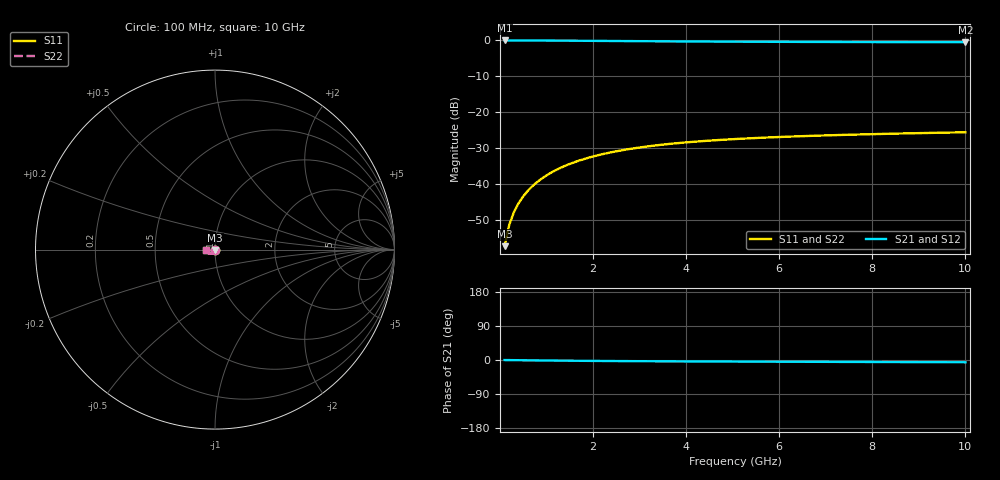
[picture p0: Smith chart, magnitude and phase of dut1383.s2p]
! Touchstone file exported from HFSS 2024.1.0
!  File:  C:/UserFiles/LocalFiles/RDL_TSV_Batchsim/temp_TSV1_1383_1780380369.aedt
!  Generated:  02:12:18 PM Jun  2, 2026
!  Design:  TSV1
!  Project:  temp_TSV1_1383_1780380369
!  Setup:  Setup1
!  Solution:  Sweep
! Variables:
!  dtsv = 9.42um
!  hbump = 3um
!  htsv = 95.35um
!  lrdl = 252.1521522um
!  p = 40
!  p1 = 47.34um
!  t = 500um
!  trdl = 3um
!  wrdl = 24.89489489um
# GHz S MA R 50.000000
! Terminal data exported
! Port[1] = TSV22_T1
! Port[2] = TSV22_T2
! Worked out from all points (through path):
!   100 points, 100 MHz to 10 GHz, reference 50 ohm
!   highest |S21| = 0.00 dB at 100 MHz (marker M1); lowest = -0.5 dB at 10 GHz (marker M2)
!   lowest |S11| = -57.3 dB at 100 MHz (marker M3), VSWR 1.00, Z = 50 - j0.136 ohm
!   |S11| at or under -10 dB: start of sweep to end of sweep
!   |S22| runs from -57.3 to -25.6 dB; largest |S21 - S12| = 5.2e-15
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0.1  0.001364 -84.0  0.9998 -0.1  0.9998 -0.1  0.001364 -84.0
! Gamma 0 0 0 0
! Port Impedance 50 0 50 0
0.2  0.002711 -89.4  0.9996 -0.3  0.9996 -0.3  0.002711 -89.4
0.3  0.004062 -92.3  0.9994 -0.4  0.9994 -0.4  0.004062 -92.3
0.4  0.00541 -94.7  0.9991 -0.6  0.9991 -0.6  0.00541 -94.7
0.5  0.006749 -96.8  0.9987 -0.7  0.9987 -0.7  0.006749 -96.8
0.6  0.008075 -98.7  0.9983 -0.8  0.9983 -0.8  0.008075 -98.7
0.7  0.009386 -100.6  0.9978 -1.0  0.9978 -1.0  0.009386 -100.6
0.8  0.01068 -102.4  0.9972 -1.1  0.9972 -1.1  0.01068 -102.4
0.9  0.01195 -104.2  0.9966 -1.2  0.9966 -1.2  0.01195 -104.2
1.1  0.01443 -107.7  0.9951 -1.4  0.9951 -1.4  0.01443 -107.7
1.4  0.01794 -112.6  0.9926 -1.8  0.9926 -1.8  0.01794 -112.6
1.6  0.02015 -115.7  0.9908 -2.0  0.9908 -2.0  0.02015 -115.7
1.8  0.02223 -118.7  0.9889 -2.2  0.9889 -2.2  0.02223 -118.7
2.1  0.02513 -123.0  0.9859 -2.5  0.9859 -2.5  0.02513 -123.0
2.5  0.02859 -128.3  0.982 -2.8  0.982 -2.8  0.02859 -128.3
2.9  0.03161 -133.2  0.9781 -3.1  0.9781 -3.1  0.03161 -133.2
3.4  0.03483 -138.7  0.9736 -3.4  0.9736 -3.4  0.03483 -138.7
4.2  0.03897 -146.4  0.9672 -3.8  0.9672 -3.8  0.03896 -146.4
5.1  0.04249 -153.8  0.9614 -4.2  0.9614 -4.2  0.04249 -153.8
6.7  0.04693 -164.3  0.9539 -4.8  0.9539 -4.8  0.04693 -164.3
8.4  0.05022 -173.3  0.9486 -5.4  0.9486 -5.4  0.05022 -173.3
10  0.05264 179.6  0.9452 -6.0  0.9452 -6.0  0.05264 179.6
